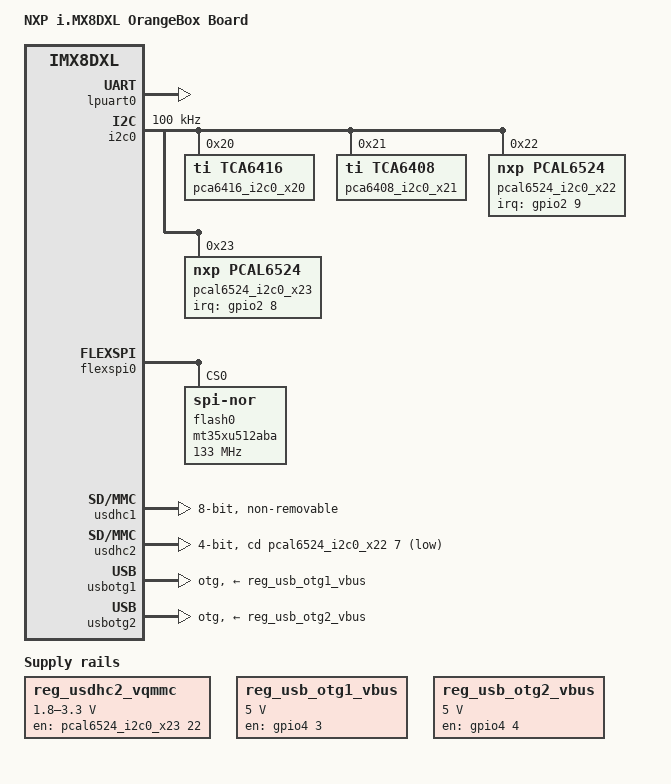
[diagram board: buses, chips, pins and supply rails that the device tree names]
// SPDX-License-Identifier: GPL-2.0+
/*
 * Copyright 2022 NXP
 */

/dts-v1/;

#include "fsl-imx8dxl.dtsi"

/ {
	model = "NXP i.MX8DXL OrangeBox Board";
	compatible = "fsl,imx8dxl-orangebox", "fsl,imx8dxl";

	chosen {
		bootargs = "console=ttyLP0,115200 earlycon";
		stdout-path = &lpuart0;
	};

	regulators {
		compatible = "simple-bus";
		#address-cells = <1>;
		#size-cells = <0>;

		reg_usdhc2_vqmmc: regulator-0 {
			compatible = "regulator-gpio";
			regulator-name = "usdhc2_1v8_3v3";
			regulator-min-microvolt = <1800000>;
			regulator-max-microvolt = <3300000>;
			enable-gpios = <&pcal6524_i2c0_x23 22 GPIO_ACTIVE_HIGH>;
			gpios = <&pcal6524_i2c0_x23 17 GPIO_ACTIVE_HIGH>;
			states = <1800000 0x1>, <3300000 0x0>;
			enable-active-high;
		};

		reg_usb_otg1_vbus: regulator-1 {
			compatible = "regulator-fixed";
			reg = <0>;
			regulator-name = "usb_otg1_vbus";
			regulator-min-microvolt = <5000000>;
			regulator-max-microvolt = <5000000>;
			gpio = <&gpio4 3 GPIO_ACTIVE_HIGH>;
			enable-active-high;
		};

		reg_usb_otg2_vbus: regulator-2 {
			compatible = "regulator-fixed";
			reg = <1>;
			regulator-name = "usb_otg2_vbus";
			regulator-min-microvolt = <5000000>;
			regulator-max-microvolt = <5000000>;
			gpio = <&gpio4 4 GPIO_ACTIVE_HIGH>;
			enable-active-high;
		};
	};
};

&iomuxc {
	pinctrl-names = "default";
	pinctrl-0 = <&pinctrl_hog>;

	imx8dxl-orangebox {
		pinctrl_hog: hoggrp {
			fsl,pins = <
				SC_P_COMP_CTL_GPIO_1V8_3V3_GPIORHB_PAD	0x000514a0
				SC_P_USB_SS3_TC0_LSIO_GPIO4_IO03	0x00000021
				SC_P_USB_SS3_TC1_LSIO_GPIO4_IO04	0x00000021
			>;
		};

		pinctrl_lpuart0: lpuart0grp {
			fsl,pins = <
				SC_P_UART0_RX_ADMA_UART0_RX	0x06000020
				SC_P_UART0_TX_ADMA_UART0_TX	0x06000020
			>;
		};

		pinctrl_lpi2c0: lpi2c0grp {
			fsl,pins = <
				SC_P_ADC_IN1_ADMA_I2C0_SDA	0x06000021
				SC_P_ADC_IN0_ADMA_I2C0_SCL	0x06000021
			>;
		};

		pinctrl_lpi2c2: lpi2c2grp {
			fsl,pins = <
				SC_P_SPI1_SDO_ADMA_I2C2_SCL	0x06000021
				SC_P_SPI1_SCK_ADMA_I2C2_SDA	0x06000021
			>;
		};

		pinctrl_lpi2c3: lpi2c3grp {
			fsl,pins = <
				SC_P_SPI1_SDI_ADMA_I2C3_SCL	0x06000021
				SC_P_SPI1_CS0_ADMA_I2C3_SDA	0x06000021
			>;
		};

		pinctrl_usdhc1: usdhc1grp {
			fsl,pins = <
				SC_P_EMMC0_CLK_CONN_EMMC0_CLK		0x06000041
				SC_P_EMMC0_CMD_CONN_EMMC0_CMD		0x00000021
				SC_P_EMMC0_DATA0_CONN_EMMC0_DATA0	0x00000021
				SC_P_EMMC0_DATA1_CONN_EMMC0_DATA1	0x00000021
				SC_P_EMMC0_DATA2_CONN_EMMC0_DATA2	0x00000021
				SC_P_EMMC0_DATA3_CONN_EMMC0_DATA3	0x00000021
				SC_P_EMMC0_DATA4_CONN_EMMC0_DATA4	0x00000021
				SC_P_EMMC0_DATA5_CONN_EMMC0_DATA5	0x00000021
				SC_P_EMMC0_DATA6_CONN_EMMC0_DATA6	0x00000021
				SC_P_EMMC0_DATA7_CONN_EMMC0_DATA7	0x00000021
				SC_P_EMMC0_STROBE_CONN_EMMC0_STROBE	0x00000041
			>;
		};

		pinctrl_usdhc1_100mhz: usdhc1grp100mhz {
			fsl,pins = <
				SC_P_EMMC0_CLK_CONN_EMMC0_CLK		0x06000041
				SC_P_EMMC0_CMD_CONN_EMMC0_CMD		0x00000021
				SC_P_EMMC0_DATA0_CONN_EMMC0_DATA0	0x00000021
				SC_P_EMMC0_DATA1_CONN_EMMC0_DATA1	0x00000021
				SC_P_EMMC0_DATA2_CONN_EMMC0_DATA2	0x00000021
				SC_P_EMMC0_DATA3_CONN_EMMC0_DATA3	0x00000021
				SC_P_EMMC0_DATA4_CONN_EMMC0_DATA4	0x00000021
				SC_P_EMMC0_DATA5_CONN_EMMC0_DATA5	0x00000021
				SC_P_EMMC0_DATA6_CONN_EMMC0_DATA6	0x00000021
				SC_P_EMMC0_DATA7_CONN_EMMC0_DATA7	0x00000021
				SC_P_EMMC0_STROBE_CONN_EMMC0_STROBE	0x00000041
			>;
		};

		pinctrl_usdhc1_200mhz: usdhc1grp200mhz {
			fsl,pins = <
				SC_P_EMMC0_CLK_CONN_EMMC0_CLK		0x06000041
				SC_P_EMMC0_CMD_CONN_EMMC0_CMD		0x00000021
				SC_P_EMMC0_DATA0_CONN_EMMC0_DATA0	0x00000021
				SC_P_EMMC0_DATA1_CONN_EMMC0_DATA1	0x00000021
				SC_P_EMMC0_DATA2_CONN_EMMC0_DATA2	0x00000021
				SC_P_EMMC0_DATA3_CONN_EMMC0_DATA3	0x00000021
				SC_P_EMMC0_DATA4_CONN_EMMC0_DATA4	0x00000021
				SC_P_EMMC0_DATA5_CONN_EMMC0_DATA5	0x00000021
				SC_P_EMMC0_DATA6_CONN_EMMC0_DATA6	0x00000021
				SC_P_EMMC0_DATA7_CONN_EMMC0_DATA7	0x00000021
				SC_P_EMMC0_STROBE_CONN_EMMC0_STROBE	0x00000041
			>;
		};

		pinctrl_usdhc2: usdhc2grp {
			fsl,pins = <
				SC_P_ENET0_RGMII_RXC_CONN_USDHC1_CLK		0x06000041
				SC_P_ENET0_RGMII_RX_CTL_CONN_USDHC1_CMD		0x00000021
				SC_P_ENET0_RGMII_RXD0_CONN_USDHC1_DATA0		0x00000021
				SC_P_ENET0_RGMII_RXD1_CONN_USDHC1_DATA1		0x00000021
				SC_P_ENET0_RGMII_RXD2_CONN_USDHC1_DATA2		0x00000021
				SC_P_ENET0_RGMII_RXD3_CONN_USDHC1_DATA3		0x00000021
			>;
		};

		pinctrl_usdhc2_100mhz: usdhc2grp100mhz {
			fsl,pins = <
				SC_P_ENET0_RGMII_RXC_CONN_USDHC1_CLK		0x06000041
				SC_P_ENET0_RGMII_RX_CTL_CONN_USDHC1_CMD		0x00000021
				SC_P_ENET0_RGMII_RXD0_CONN_USDHC1_DATA0		0x00000021
				SC_P_ENET0_RGMII_RXD1_CONN_USDHC1_DATA1		0x00000021
				SC_P_ENET0_RGMII_RXD2_CONN_USDHC1_DATA2		0x00000021
				SC_P_ENET0_RGMII_RXD3_CONN_USDHC1_DATA3		0x00000021
			>;
		};

		pinctrl_usdhc2_200mhz: usdhc2grp200mhz {
			fsl,pins = <
				SC_P_ENET0_RGMII_RXC_CONN_USDHC1_CLK		0x06000041
				SC_P_ENET0_RGMII_RX_CTL_CONN_USDHC1_CMD		0x00000021
				SC_P_ENET0_RGMII_RXD0_CONN_USDHC1_DATA0		0x00000021
				SC_P_ENET0_RGMII_RXD1_CONN_USDHC1_DATA1		0x00000021
				SC_P_ENET0_RGMII_RXD2_CONN_USDHC1_DATA2		0x00000021
				SC_P_ENET0_RGMII_RXD3_CONN_USDHC1_DATA3		0x00000021
			>;
		};

		pinctrl_flexspi0: flexspi0grp {
			fsl,pins = <
				SC_P_QSPI0A_DATA0_LSIO_QSPI0A_DATA0		0x06000021
				SC_P_QSPI0A_DATA1_LSIO_QSPI0A_DATA1		0x06000021
				SC_P_QSPI0A_DATA2_LSIO_QSPI0A_DATA2		0x06000021
				SC_P_QSPI0A_DATA3_LSIO_QSPI0A_DATA3		0x06000021
				SC_P_QSPI0A_DQS_LSIO_QSPI0A_DQS			0x06000021
				SC_P_QSPI0A_SS0_B_LSIO_QSPI0A_SS0_B		0x06000021
				SC_P_QSPI0A_SCLK_LSIO_QSPI0A_SCLK		0x06000021
				SC_P_QSPI0B_DATA0_LSIO_QSPI0B_DATA0		0x06000021
				SC_P_QSPI0B_DATA1_LSIO_QSPI0B_DATA1		0x06000021
				SC_P_QSPI0B_DATA2_LSIO_QSPI0B_DATA2		0x06000021
				SC_P_QSPI0B_DATA3_LSIO_QSPI0B_DATA3		0x06000021
			>;
		};

		pinctrl_pcal6524_i2c0_x22: pcal6524i2c0x22grp {
			fsl,pins = <
				SC_P_SNVS_TAMPER_IN0_LSIO_GPIO2_IO09_IN		0x06000021
			>;
		};

		pinctrl_pcal6524_i2c0_x23: pcal6524i2c0x23grp {
			fsl,pins = <
				SC_P_SNVS_TAMPER_OUT4_LSIO_GPIO2_IO08_IN	0x06000021
			>;
		};
	};
};

&A35_0 {
	u-boot,dm-pre-reloc;
};

&lpuart0 {
	pinctrl-names = "default";
	pinctrl-0 = <&pinctrl_lpuart0>;
	status = "okay";
};

&gpio4 {
	status = "okay";
};

&i2c0 {
	clock-frequency = <100000>;
	pinctrl-names = "default";
	pinctrl-0 = <&pinctrl_lpi2c0>;
	status = "okay";

	pca6416_i2c0_x20: gpio@20 {
		compatible = "ti,tca6416";
		reg = <0x20>;
		gpio-controller;
		#gpio-cells = <2>;
	};

	pca6408_i2c0_x21: gpio@21 {
		compatible = "ti,tca6408";
		reg = <0x21>;
		gpio-controller;
		#gpio-cells = <2>;
	};

	pcal6524_i2c0_x22: gpio@22 {
		compatible = "nxp,pcal6524";
		pinctrl-names = "default";
		pinctrl-0 = <&pinctrl_pcal6524_i2c0_x22>;
		reg = <0x22>;
		gpio-controller;
		#gpio-cells = <2>;
		interrupt-controller;
		#interrupt-cells = <2>;
		interrupt-parent = <&gpio2>;
		interrupts = <9 IRQ_TYPE_LEVEL_LOW>;
	};

	pcal6524_i2c0_x23: gpio@23 {
		compatible = "nxp,pcal6524";
		pinctrl-names = "default";
		pinctrl-0 = <&pinctrl_pcal6524_i2c0_x23>;
		reg = <0x23>;
		gpio-controller;
		#gpio-cells = <2>;
		interrupt-controller;
		#interrupt-cells = <2>;
		interrupt-parent = <&gpio2>;
		interrupts = <8 IRQ_TYPE_LEVEL_LOW>;
	};
};

&flexspi0 {
	pinctrl-names = "default";
	pinctrl-0 = <&pinctrl_flexspi0>;
	nxp,fspi-dll-slvdly = <4>;
	status = "okay";

	flash0: mt35xu512aba@0 {
		reg = <0>;
		#address-cells = <1>;
		#size-cells = <1>;
		compatible = "jedec,spi-nor";
		spi-max-frequency = <133000000>;
		spi-tx-bus-width = <8>;
		spi-rx-bus-width = <8>;
	};
};

&usdhc1 {
	pinctrl-names = "default", "state_100mhz", "state_200mhz";
	pinctrl-0 = <&pinctrl_usdhc1>;
	pinctrl-1 = <&pinctrl_usdhc1_100mhz>;
	pinctrl-2 = <&pinctrl_usdhc1_200mhz>;
	bus-width = <8>;
	non-removable;
	status = "okay";
};

&usdhc2 {
	pinctrl-names = "default", "state_100mhz", "state_200mhz";
	pinctrl-0 = <&pinctrl_usdhc2>;
	pinctrl-1 = <&pinctrl_usdhc2_100mhz>;
	pinctrl-2 = <&pinctrl_usdhc2_200mhz>;
	bus-width = <4>;
	cd-gpios = <&pcal6524_i2c0_x22 7 GPIO_ACTIVE_LOW>;
	vqmmc-supply = <&reg_usdhc2_vqmmc>;
	max-frequency = <100000000>;
	status = "okay";
};

&usbotg1 {
	vbus-supply = <&reg_usb_otg1_vbus>;
	dr_mode = "otg";
	srp-disable;
	hnp-disable;
	adp-disable;
	power-polarity-active-high;
	disable-over-current;
	status = "okay";
};

&usbotg2 {
	vbus-supply = <&reg_usb_otg2_vbus>;
	dr_mode = "otg";
	srp-disable;
	hnp-disable;
	adp-disable;
	power-polarity-active-high;
	disable-over-current;
	status = "okay";
};
